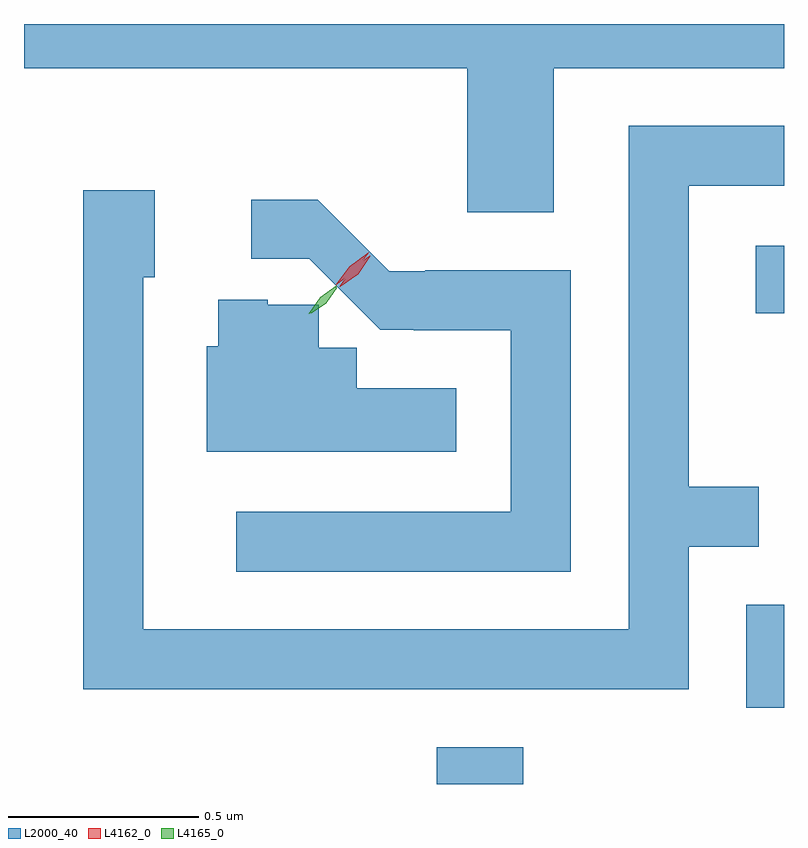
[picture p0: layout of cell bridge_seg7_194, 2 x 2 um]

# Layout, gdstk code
import gdstk
lib = gdstk.Library(unit=1e-6, precision=1e-09)
def R(c, l, rs):  # rectangles x0, y0, x1, y1
    for r in rs: c.add(gdstk.rectangle(r[:2], r[2:], *l))
def P(c, l, *ps):  # polygons
    for p in ps: c.add(gdstk.Polygon(p, *l))
L2000_40 = (2000, 40)
L4162_0 = (4162, 0)
L4165_0 = (4165, 0)

bridge_seg7_194 = lib.new_cell('bridge_seg7_194')
R(bridge_seg7_194, L2000_40, [(1534.181,1732.412,1534.409,1732.509), (1534.996,1732.613,1535.095,1732.884), (1535.021,1733.651,1535.095,1733.829)])
P(bridge_seg7_194, L2000_40, [(1534.489,1734.296),(1535.095,1734.296),(1535.095,1734.412),(1533.095,1734.412),(1533.095,1734.296),(1534.261,1734.296),(1534.261,1733.916),(1534.489,1733.916)],
  [(1534.844,1733.036),(1535.028,1733.036),(1535.028,1733.194),(1534.844,1733.194),(1534.844,1733.986),(1535.095,1733.986),(1535.095,1734.144),(1534.686,1734.144),(1534.686,1732.819),(1533.409,1732.819),(1533.409,1733.746),(1533.439,1733.746),(1533.439,1733.974),(1533.251,1733.974),(1533.251,1732.661),(1534.844,1732.661)],
  [(1534.534,1733.764),(1534.151,1733.764),(1534.151,1733.761),(1534.056,1733.761),(1533.868,1733.949),(1533.693,1733.949),(1533.693,1733.794),(1533.846,1733.794),(1534.033,1733.607),(1534.121,1733.607),(1534.121,1733.606),(1534.376,1733.606),(1534.376,1733.129),(1533.653,1733.129),(1533.653,1732.971),(1534.534,1732.971)],
  [(1534.233,1733.454),(1533.971,1733.454),(1533.971,1733.56),(1533.871,1733.56),(1533.871,1733.673),(1533.736,1733.673),(1533.736,1733.687),(1533.606,1733.687),(1533.606,1733.564),(1533.576,1733.564),(1533.576,1733.286),(1534.233,1733.286)])
P(bridge_seg7_194, L4162_0, [(1533.916,1733.725),(1533.916,1733.726),(1533.952,1733.775),(1534.002,1733.811),(1534.002,1733.811),(1534.002,1733.81),(1533.966,1733.761),(1533.916,1733.725)],
  [(1533.926,1733.721),(1533.926,1733.722),(1533.959,1733.769),(1534.005,1733.802),(1534.006,1733.802),(1534.006,1733.801),(1533.974,1733.754),(1533.927,1733.721)])
P(bridge_seg7_194, L4165_0, [(1533.844,1733.649),(1533.844,1733.65),(1533.874,1733.693),(1533.917,1733.723),(1533.918,1733.723),(1533.918,1733.722),(1533.888,1733.679),(1533.845,1733.649)],
  [(1533.849,1733.649),(1533.849,1733.65),(1533.877,1733.691),(1533.917,1733.718),(1533.918,1733.718),(1533.918,1733.717),(1533.891,1733.677),(1533.85,1733.649)])

lib.write_gds('bridge_seg7_194.gds')
